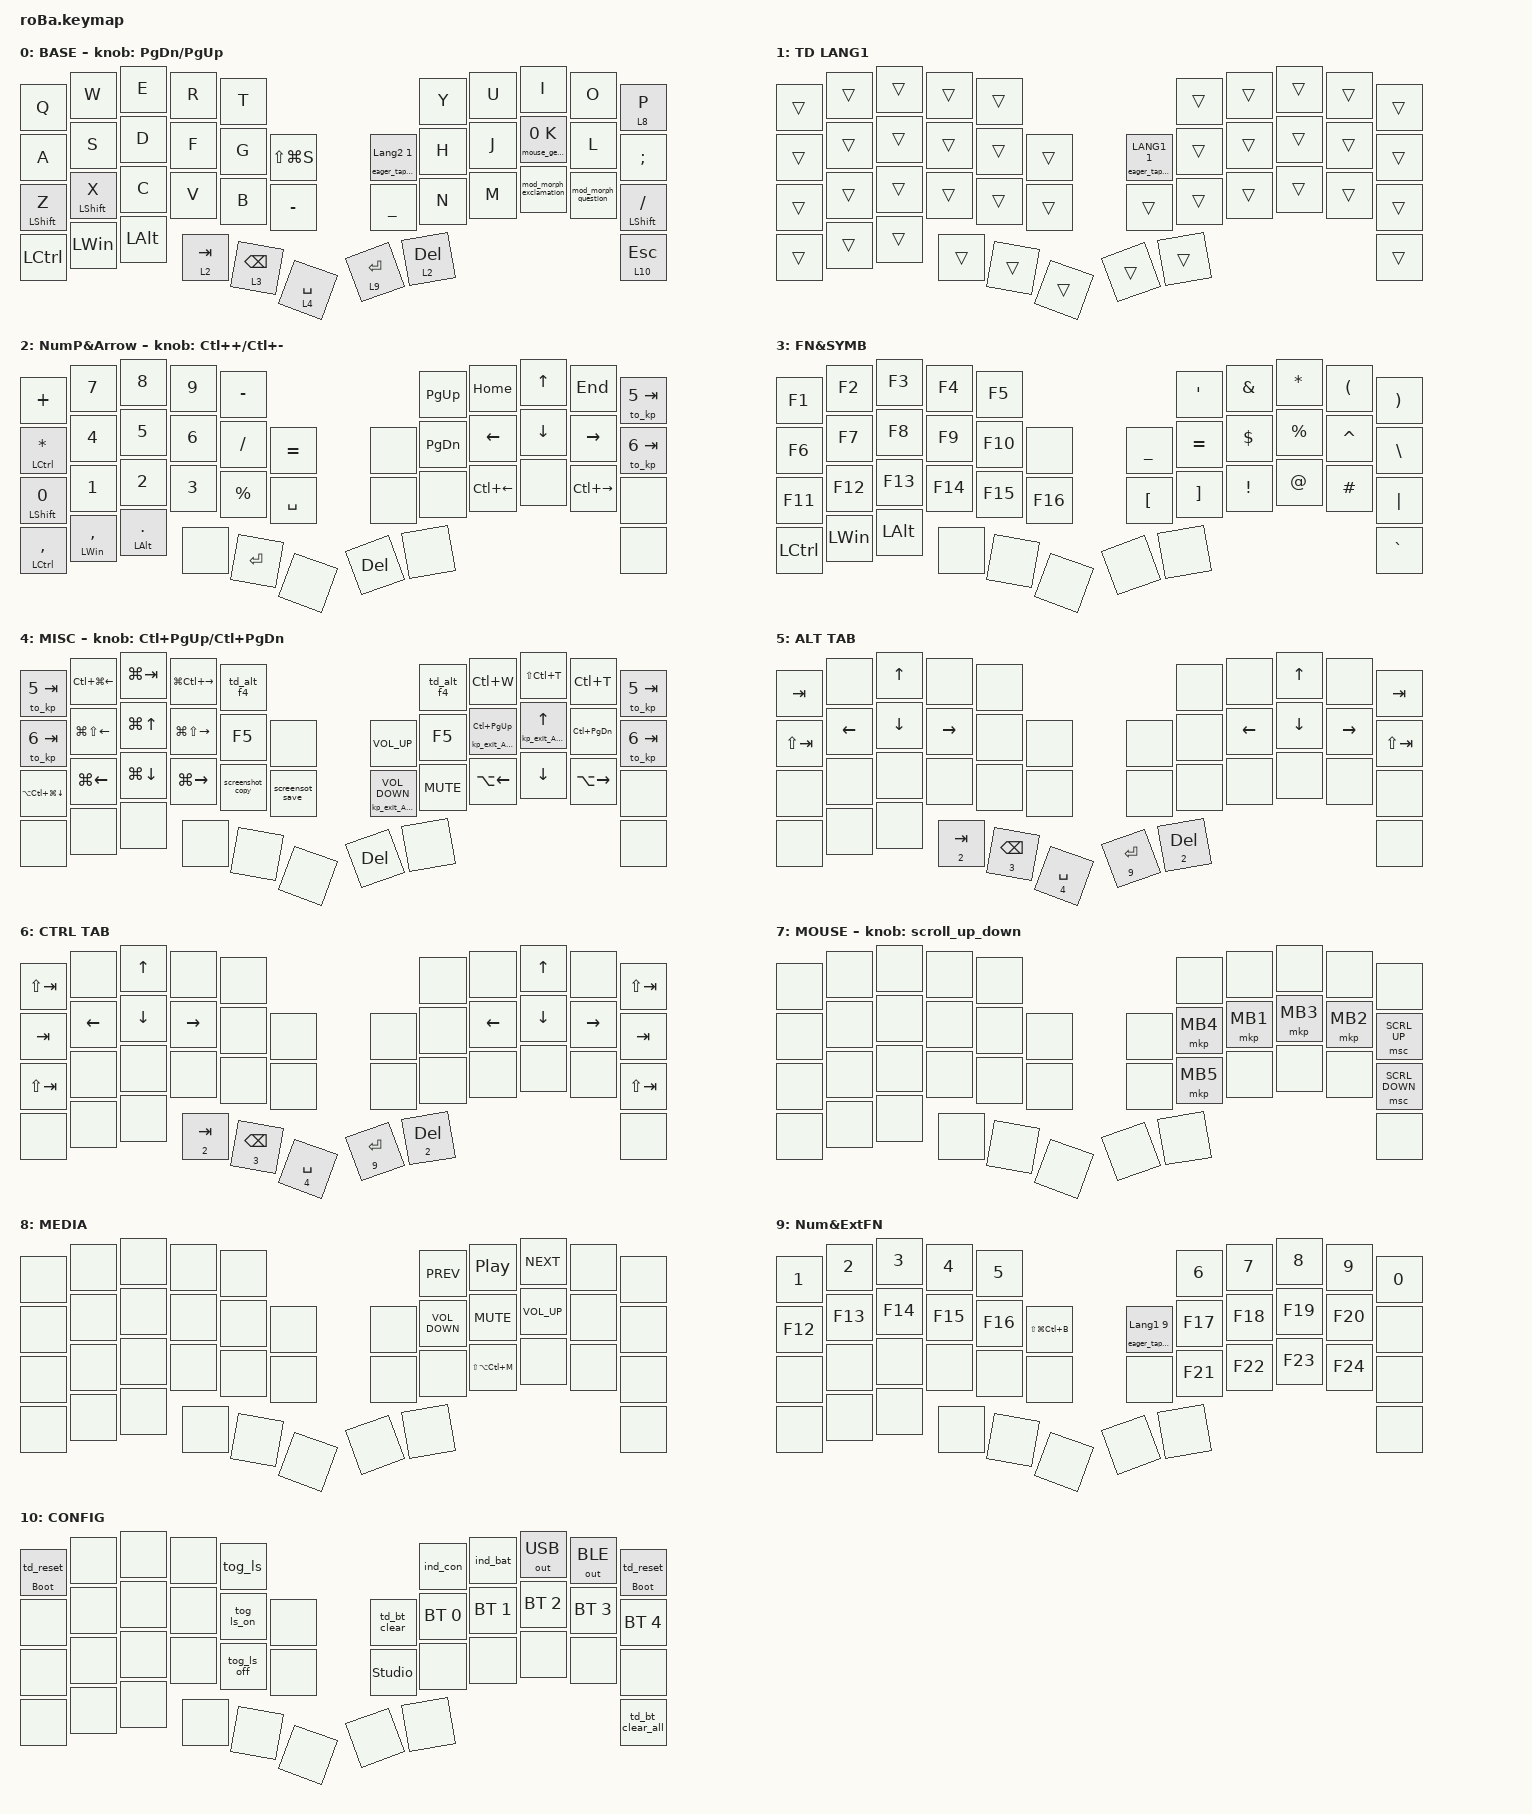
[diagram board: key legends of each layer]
#define ZMK_POINTING_DEFAULT_SCRL_VAL 1000

// #define ZMK_POINTING_DEFAULT_MOVE_VAL 700

#include <input/processors.dtsi>
#include <dt-bindings/zmk/input_transform.h>
#include <zephyr/dt-bindings/input/input-event-codes.h>
#include <behaviors/rgbled_widget.dtsi>

#include <behaviors.dtsi>
#include <dt-bindings/zmk/bt.h>
#include <dt-bindings/zmk/keys.h>
#include <dt-bindings/zmk/outputs.h>
#include <dt-bindings/zmk/pointing.h>

// #include <layout_shift.dtsi>
#include <layout_shift_kp_override.dtsi>

#include <mouse-gesture.dtsi>

#include <scroll-snap.dtsi>

#define DEFAULT 0
#define LANG1_EAGER_TAP_DANCE 1
#define NUMPAD_AND_ARROWS 2
#define FUNCTIONS_AND_SYMBOLS 3
#define MISC 4
#define ALT_TAB 5
#define CTRL_TAB 6
#define MOUSE 7
#define MEDIA 8
#define EXTRA_FINCTIONS 9
#define CONFIGURATION 10

&mt {
    tapping-term-ms = <200>;
    quick-tap-ms = <250>;
    flavor = "balanced";
};

&lt {
    tapping-term-ms = <200>;
    quick-tap-ms = <250>;
    flavor = "balanced";
};

&to { /delete-property/ locking; };

&tog { /delete-property/ locking; };

&sk { release-after-ms = <700>; };

&sl { release-after-ms = <1000>; };

&mouse_gesture_kp {
    tapping-term-ms = <200>;
    quick-tap-ms = <250>;
    flavor = "balanced";
};

&mouse_gesture_mkp {
    tapping-term-ms = <200>;
    quick-tap-ms = <250>;
    flavor = "balanced";
};


&zip_temp_layer {
    require-prior-idle-ms = <200>;
    excluded-positions = <
        17 // H - MB4
        18 // J - MB1
        19 // K - MB3
        20 // L - MB2
        21 // ; - Scroll
        29 // N - MB5
        33 // / - Scroll
        // 22 // Z
        // 31 // .
        // 32 // ,
        // 33 // /
        // 34 // Ctrl
        // 42
    >;
};

&zip_mouse_gesture {
    stroke-size = <150>;
    enable-eager-mode;

    history_back {
        pattern = <GESTURE_RIGHT>;
        bindings = <&kp LA(LEFT)>;
    };

    history_forward {
        pattern = <GESTURE_LEFT>;
        bindings = <&kp LA(RIGHT)>;
    };

    close_tab {
        pattern = <GESTURE_DOWN GESTURE_RIGHT>;
        bindings = <&kp LC(W)>;
    };

    new_tab {
        pattern = <GESTURE_DOWN GESTURE_LEFT>;
        bindings = <&kp LC(T)>;
    };

    app_switcher {
        pattern = <GESTURE_DOWN GESTURE_UP>;
        bindings = <&kp LG(TAB)>;
    };

    virtual_desktop_prev {
        pattern = <GESTURE_LEFT GESTURE_DOWN>;
        bindings = <&kp LG(LC(LEFT))>;
    };

    virtual_desktop_next {
        pattern = <GESTURE_RIGHT GESTURE_DOWN>;
        bindings = <&kp LG(LC(RIGHT))>;
    };

    // left {
    //     gesture = <GESTURE_LEFT>;
    //     bindings = <&kp LEFT>;
    // };
    // right {
    //     gesture = <GESTURE_RIGHT>;
    //     bindings = <&kp RIGHT>;
    // };
    // up {
    //     gesture = <GESTURE_UP>;
    //     bindings = <&kp UP>;
    // };
    // down {
    //     gesture = <GESTURE_DOWN>;
    //     bindings = <&kp DOWN>;
    // };
};

&zip_scroll_snap {
    require-n-samples = <8>;
    immediate-snap-threshold = <750>;
    lock-duration-ms = <175>;
    lock-for-next-n-events = <8>;
    idle-reset-timeout-ms = <175>;
};

/ {
    input_processors {
        wheel_x_scaler: wheel_x_scaler {
            compatible = "zmk,input-processor-scaler";
            #input-processor-cells = <2>;
            type = <INPUT_EV_REL>;
            codes = <INPUT_REL_HWHEEL>;
            track-remainders;
        };
    };

    layer_listeners {
        compatible = "zmk,layer-listeners";

        release_alt {
            layers = <ALT_TAB>;
            bindings = <&kt_on LEFT_ALT &kt_off LEFT_ALT>;
        };

        release_ctrl {
            layers = <CTRL_TAB>;
            bindings = <&kt_on LCTRL &kt_off LCTRL>;
        };

        // AML_indicator {
        //     layers = <MOUSE>;
        //     bindings = <&kp LS(LA(LC(LG(H)))) &kp LS(LA(LC(LG(H))))>;
        // };
        // AML {
        //     layers = <MOUSE>;
        //     bindings = <&to MOUSE &none>;
        // };
    };

    macros {
        /omit-if-no-ref/

        exit_AML: exit_AML {
            compatible = "zmk,behavior-macro";
            wait-ms = <0>;
            tap-ms = <0>;
            #binding-cells = <0>;
            bindings = <&tog_off 7>;
        };

        /omit-if-no-ref/

        kp_exit_AML: kp_exit_AML {
            compatible = "zmk,behavior-macro-one-param";
            wait-ms = <0>;
            tap-ms = <0>;
            #binding-cells = <1>;
            bindings = <&macro_param_1to1 &kp MACRO_PLACEHOLDER &exit_AML>;
        };

        /omit-if-no-ref/

        mod_exit_AML: mod_exit_AML {
            compatible = "zmk,behavior-macro-one-param";
            wait-ms = <0>;
            tap-ms = <0>;
            #binding-cells = <1>;
            bindings =
                <&macro_press>,
                <&macro_param_1to1 &kp MACRO_PLACEHOLDER>,
                <&macro_tap>,
                <&exit_AML>,
                <&macro_pause_for_release>,
                <&macro_release>,
                <&macro_param_1to1 &kp MACRO_PLACEHOLDER>;
        };

        /omit-if-no-ref/

        mkp_exit_AML: mkp_exit_AML {
            compatible = "zmk,behavior-macro-one-param";
            #binding-cells = <1>;
            bindings =
                <&macro_press>,
                <&macro_param_1to1 &mkp MACRO_PLACEHOLDER>,
                <&macro_pause_for_release>,
                <&macro_release>,
                <&macro_param_1to1 &mkp MACRO_PLACEHOLDER>,
                <&macro_tap>,
                <&sl 7>;
        };

        /omit-if-no-ref/

        mo_exit_AML: mo_exit_AML {
            compatible = "zmk,behavior-macro-one-param";
            wait-ms = <0>;
            tap-ms = <0>;
            #binding-cells = <1>;
            bindings =
                <&macro_press>,
                <&macro_param_1to1 &mo MACRO_PLACEHOLDER>,
                <&macro_tap>,
                <&exit_AML>,
                <&macro_pause_for_release>,
                <&macro_release>,
                <&macro_param_1to1 &mo MACRO_PLACEHOLDER>,
                <&macro_tap>;
        };

        /omit-if-no-ref/

        mo_exit_alttab: mo_exit_alttab_ctrltab {
            compatible = "zmk,behavior-macro-one-param";
            wait-ms = <0>;
            tap-ms = <0>;
            #binding-cells = <1>;
            bindings =
                <&macro_press>,
                <&macro_param_1to1 &mo MACRO_PLACEHOLDER>,
                <&macro_tap>,
                <&macro_pause_for_release>,
                <&macro_release>,
                <&macro_param_1to1 &mo MACRO_PLACEHOLDER>,
                <&macro_tap>,
                <&tog_off 5 &tog_off 6>;
        };

        /omit-if-no-ref/

        kp_to: kp_to {
            compatible = "zmk,behavior-macro-two-param";
            wait-ms = <0>;
            tap-ms = <0>;
            #binding-cells = <2>;
            bindings = <&macro_param_1to1 &kp MACRO_PLACEHOLDER &macro_param_2to1 &to MACRO_PLACEHOLDER>;
        };

        /omit-if-no-ref/

        to_kp: to_kp {
            compatible = "zmk,behavior-macro-two-param";
            #binding-cells = <2>;
            bindings = <&macro_param_1to1 &to MACRO_PLACEHOLDER &macro_param_2to1 &kp MACRO_PLACEHOLDER>;
        };

        /omit-if-no-ref/

        zoom_in: zoom_in {
            compatible = "zmk,behavior-macro";
            #binding-cells = <0>;
            bindings = <&kt_on LCTRL &msc SCRL_UP &kt_off LCTRL>;
        };

        /omit-if-no-ref/

        zoom_out: zoom_out {
            compatible = "zmk,behavior-macro";
            #binding-cells = <0>;
            bindings = <&kt_on LCTRL &msc SCRL_DOWN &kt_off LCTRL>;
        };

        /omit-if-no-ref/

        eager_tap_dance: eager_tap_dance {
            compatible = "zmk,behavior-macro-two-param";
            #binding-cells = <2>;
            bindings =
                <&macro_press>,
                <&macro_param_1to1 &kp MACRO_PLACEHOLDER>,
                <&macro_pause_for_release>,
                <&macro_release>,
                <&macro_param_1to1 &kp MACRO_PLACEHOLDER>,
                <&macro_tap>,
                <&exit_AML &macro_param_2to1 &sl_250 MACRO_PLACEHOLDER>;
        };
    };

    behaviors {
        /omit-if-no-ref/

        tog_on: toggle_layer_on {
            compatible = "zmk,behavior-toggle-layer";
            #binding-cells = <1>;
            display-name = "Toggle Layer On";
            toggle-mode = "on";
        };

        /omit-if-no-ref/

        tog_off: toggle_layer_off {
            compatible = "zmk,behavior-toggle-layer";
            #binding-cells = <1>;
            display-name = "Toggle Layer Off";
            toggle-mode = "off";
        };

        /omit-if-no-ref/

        kt_on: key_toggle_on_only {
            compatible = "zmk,behavior-key-toggle";
            #binding-cells = <1>;
            display-name = "Key Toggle On";
            toggle-mode = "on";
        };

        /omit-if-no-ref/

        kt_off: key_toggle_off_only {
            compatible = "zmk,behavior-key-toggle";
            #binding-cells = <1>;
            display-name = "Key Toggle Off";
            toggle-mode = "off";
        };

        /omit-if-no-ref/

        td_colon: td_colon {
            compatible = "zmk,behavior-tap-dance";
            #binding-cells = <0>;
            bindings = <&kp COLON>, <&kp SEMICOLON>;

            tapping-term-ms = <250>;
        };

        /omit-if-no-ref/

        td_q_escape: td_q_escape {
            compatible = "zmk,behavior-tap-dance";
            #binding-cells = <0>;
            tapping-term-ms = <250>;
            bindings = <&kp Q>, <&kp ESCAPE>;
        };

        /omit-if-no-ref/

        td_ZenkakuHankaku: td_ZenkakuHankaku {
            compatible = "zmk,behavior-tap-dance";

            // compatible = "zmk,behavior-eager-tap-dance";

            #binding-cells = <0>;
            tapping-term-ms = <250>;
            bindings = <&kp LANGUAGE_2>, <&kp LANGUAGE_1>;
        };

        /omit-if-no-ref/

        td_ZenkakuHankaku_exit_AML: td_ZenkakuHankaku_exit_AML {
            wait-ms = <0>;
            tap-ms = <0>;
            compatible = "zmk,behavior-macro";
            #binding-cells = <0>;
            bindings = <&td_ZenkakuHankaku &exit_AML>;
        };

        /omit-if-no-ref/

        alt_tab: alt_tab {
            compatible = "zmk,behavior-macro-two-param";
            #binding-cells = <2>;
            bindings = <&macro_param_1to1 &kt_on MACRO_PLACEHOLDER &macro_param_2to1 &kp MACRO_PLACEHOLDER &macro_param_1to1 &sk MACRO_PLACEHOLDER &macro_param_1to1 &kt_off MACRO_PLACEHOLDER>;
        };

        /omit-if-no-ref/

        windows_sleep: windows_sleep {
            compatible = "zmk,behavior-macro";
            wait-ms = <200>;
            tap-ms = <100>;
            #binding-cells = <0>;
            bindings = <&kp LG(X) &kp U &kp S>;
        };

        /omit-if-no-ref/

        screensot_save: screensot_save {
            compatible = "zmk,behavior-macro";
            #binding-cells = <0>;
            bindings = <&kp LS(F11)>;
            label = "SCREENSOT_SAVE";
        };

        mkp_with_mod: mkp_with_mod {
            compatible = "zmk,behavior-macro-two-param";
            #binding-cells = <2>;
            bindings =
                <&macro_press>,
                <&macro_param_1to1 &kp MACRO_PLACEHOLDER &macro_param_2to1 &mkp MACRO_PLACEHOLDER>,
                <&macro_pause_for_release>,
                <&macro_release>,
                <&macro_param_2to1 &mkp MACRO_PLACEHOLDER &macro_param_1to1 &kp MACRO_PLACEHOLDER>;

            label = "MKP_WITH_MOD";
        };

        /omit-if-no-ref/

        screenshot_copy: screenshot_copy {
            compatible = "zmk,behavior-mod-morph";
            bindings = <&kp LA(PRINTSCREEN)>, <&kp LA(PRINTSCREEN)>;

            #binding-cells = <0>;
            mods = <(MOD_LSFT|MOD_LALT)>;
            keep-mods = <(MOD_LALT)>;
        };

        /omit-if-no-ref/

        mod_morph_exclamation: mod_morph_exclamation {
            compatible = "zmk,behavior-mod-morph";
            bindings = <&kp COMMA>, <&kp EXCL>;

            #binding-cells = <0>;
            mods = <(MOD_LSFT)>;
        };

        /omit-if-no-ref/

        mod_morph_question: mod_morph_question {
            compatible = "zmk,behavior-mod-morph";
            bindings = <&kp PERIOD>, <&kp QUESTION>;

            #binding-cells = <0>;
            mods = <(MOD_LSFT)>;
        };

        /omit-if-no-ref/

        mod_morph_slash: mod_morph_slash {
            compatible = "zmk,behavior-mod-morph";
            bindings = <&kp SLASH>, <&kp BACKSLASH>;

            #binding-cells = <0>;
            mods = <(MOD_LSFT)>;
        };

        /omit-if-no-ref/

        td_alt_f4: td_alt_f4 {
            compatible = "zmk,behavior-tap-dance";
            #binding-cells = <0>;
            bindings = <&kp F4>, <&kp LA(F4)>;

            tapping-term-ms = <250>;
        };

        /omit-if-no-ref/

        lt_exit_AML: lt_exit_AML {
            compatible = "zmk,behavior-hold-tap";
            bindings = <&mo_exit_AML>, <&kp_exit_AML>;

            #binding-cells = <2>;
            tapping-term-ms = <200>;
            quick-tap-ms = <200>;
            flavor = "balanced";
        };

        /omit-if-no-ref/

        lt_exit_AML_on_hold: lt_exit_AML_on_hold {
            compatible = "zmk,behavior-hold-tap";
            bindings = <&mo_exit_AML>, <&kp>;

            #binding-cells = <2>;
            tapping-term-ms = <200>;
            quick-tap-ms = <200>;
            flavor = "balanced";
        };

        /omit-if-no-ref/

        lt_exit_alttab: lt_exit_alttab_ctrltab_on_hold_release {
            compatible = "zmk,behavior-hold-tap";
            bindings = <&mo_exit_alttab>, <&kp>;

            #binding-cells = <2>;
            tapping-term-ms = <200>;
            quick-tap-ms = <200>;
            flavor = "balanced";
        };

        /omit-if-no-ref/

        mt_exit_AML: mt_exit_AML {
            compatible = "zmk,behavior-hold-tap";
            bindings = <&mod_exit_AML>, <&kp_exit_AML>;

            #binding-cells = <2>;
            tapping-term-ms = <200>;
            flavor = "balanced";
            quick-tap-ms = <200>;
        };

        /omit-if-no-ref/

        mt_exit_AML_on_tap: mt_exit_AML_on_tap {
            compatible = "zmk,behavior-hold-tap";
            bindings = <&kp>, <&kp_exit_AML>;

            #binding-cells = <2>;
            tapping-term-ms = <200>;
            flavor = "balanced";
            quick-tap-ms = <200>;
        };

        /omit-if-no-ref/

        encoder_zoom: encoder_zoom {
            compatible = "zmk,behavior-sensor-rotate";
            #sensor-binding-cells = <0>;
            bindings = <&zoom_out>, <&zoom_in>;
        };

        /omit-if-no-ref/

        encoder_volume: encoder_volume {
            compatible = "zmk,behavior-sensor-rotate";
            #sensor-binding-cells = <0>;
            bindings = <&kp C_VOLUME_DOWN>, <&kp C_VOLUME_UP>;
        };

        // /omit-if-no-ref/

        lt_zoom_out: lt_zoom_out {
            compatible = "zmk,behavior-hold-tap";
            bindings = <&mo_exit_AML>, <&zoom_out>;

            #binding-cells = <2>;
            tapping-term-ms = <200>;
            quick-tap-ms = <200>;
            flavor = "balanced";
        };

        /omit-if-no-ref/

        sl_250: sl_250 {
            compatible = "zmk,behavior-sticky-key";
            bindings = <&mo>;
            #binding-cells = <1>;
            release-after-ms = <250>;
        };

        /omit-if-no-ref/

        td_bt_clear: td_bt_clear {
            compatible = "zmk,behavior-tap-dance";
            #binding-cells = <0>;
            bindings = <&none>, <&none>, <&bt BT_CLR>;

            tapping-term-ms = <250>;
        };

        /omit-if-no-ref/

        td_bt_clear_all: td_bt_clear_all {
            compatible = "zmk,behavior-tap-dance";
            #binding-cells = <0>;
            tapping-term-ms = <250>;
            bindings = <&none>, <&none>, <&bt BT_CLR_ALL>;
        };

        /omit-if-no-ref/

        td_copy_paste: td_copy_paste {
            compatible = "zmk,behavior-tap-dance";
            #binding-cells = <0>;
            bindings = <&kp_exit_AML LC(C)>, <&kp_exit_AML LC(V)>;

            tapping-term-ms = <250>;
        };

        /omit-if-no-ref/

        td_reset: td_reset {
            compatible = "zmk,behavior-tap-dance";
            #binding-cells = <0>;
            bindings = <&none>, <&sys_reset>;

            tapping-term-ms = <300>;
        };

        /omit-if-no-ref/

        reset_bootloader: reset_bootloader {
            compatible = "zmk,behavior-hold-tap";
            #binding-cells = <2>;
            bindings = <&bootloader>, <&td_reset>;

            tapping-term-ms = <500>;
            flavor = "balanced";
        };

        /omit-if-no-ref/

        td_rclick_close_tab: td_rclick_close_tab {
            compatible = "zmk,behavior-tap-dance";
            #binding-cells = <0>;
            bindings = <&mkp RCLK>, <&kp LC(W)>;

            tapping-term-ms = <250>;
        };

        /omit-if-no-ref/

        td_rclick_close_tab_mouse_gesture: td_rclick_close_tab_mouse_gesture {
            compatible = "zmk,behavior-hold-tap";
            #binding-cells = <2>;
            bindings = <&mouse_gesture>, <&td_rclick_close_tab>;

            tapping-term-ms = <150>;
            flavor = "balanced";
        };

        // スクロール動作の追加
        scroll_up_down: behavior_sensor_rotate_mouse_wheel_up_down {
            compatible = "zmk,behavior-sensor-rotate";
            #sensor-binding-cells = <0>;
            bindings = <&msc SCRL_DOWN>, <&msc SCRL_UP>;

            tap-ms = <20>;
        };
    };

    keymap {
        compatible = "zmk,keymap";

        DEFAULT {
            display-name = "BASE";
            bindings = <
&kp Q                             &kp W             &kp E         &kp R      &kp T                                                                   &kp Y         &kp U   &kp I                   &kp O                &lt 8 P
&kp A                             &kp S             &kp D         &kp F      &kp G            &kp LS(LG(S))        &eager_tap_dance LANGUAGE_2 1     &kp H         &kp J   &mouse_gesture_kp 0 K   &kp L                &kp SEMICOLON
&mt_exit_AML_on_tap LEFT_SHIFT Z  &mt LEFT_SHIFT X  &kp C         &kp V      &kp B            &kp MINUS            &kp UNDER                         &kp N         &kp M   &mod_morph_exclamation  &mod_morph_question  &mt LEFT_SHIFT SLASH
&kp LCTRL                         &kp LEFT_WIN      &kp LEFT_ALT  &lt 2 TAB  &lt 3 BACKSPACE  &lt 4 SPACE          &lt 9 ENTER                       &lt 2 DELETE                                                       &lt 10 ESCAPE
            >;
            sensor-bindings = <&inc_dec_kp PG_DN PG_UP>;
        };

//Layer1
        LANG1_EAGER_TAP_DANCE { 
            display-name = "TD LANG1";
            bindings = <
&trans  &trans  &trans  &trans  &trans                                        &trans  &trans  &trans  &trans  &trans
&trans  &trans  &trans  &trans  &trans  &trans      &eager_tap_dance LANG1 1  &trans  &trans  &trans  &trans  &trans
&trans  &trans  &trans  &trans  &trans  &trans      &trans                    &trans  &trans  &trans  &trans  &trans
&trans  &trans  &trans  &trans  &trans  &trans      &trans                    &trans                          &trans
            >;
        };

//Layer2
        NUMPAD_AND_ARROWS {
            display-name = "NumP&Arrow";
            bindings = <
&kp PLUS                   &kp N7              &kp N8               &kp N9  &kp MINUS                               &kp PG_UP      &kp HOME        &kp UP      &kp END           &to_kp 5 TAB
&mt LEFT_CONTROL ASTERISK  &kp N4              &kp N5               &kp N6  &kp SLASH    &kp EQUAL      &none       &kp PAGE_DOWN  &kp LEFT        &kp DOWN    &kp RIGHT         &to_kp 6 TAB
&mt LEFT_SHIFT N0          &kp N1              &kp N2               &kp N3  &kp PERCENT  &kp SPACE      &none       &none          &kp LC(LEFT)    &none       &kp LC(RIGHT)     &none
&mt LCTRL COMMA            &mt LEFT_WIN COMMA  &mt LEFT_ALT PERIOD  &none   &kp ENTER    &none          &kp DELETE  &none                                                            &none 
            >;

            sensor-bindings = <&inc_dec_kp LC(PLUS) LC(MINUS)>;
        };

//Layer3
        FUNCTIONS_AND_SYMBOLS {
            display-name = "FN&SYMB";
            bindings = <
&kp F1      &kp F2        &kp F3     &kp F4     &kp F5                              &kp SQT    &kp AMPS  &kp ASTRK  &kp LPAR   &kp RPAR
&kp F6      &kp F7        &kp F8     &kp F9     &kp F10      &none       &kp UNDER  &kp EQUAL  &kp DLLR  &kp PRCNT  &kp CARET  &kp BSLH
&kp F11     &kp F12       &kp F13    &kp F14    &kp F15    &kp F16       &kp LBKT   &kp RBKT   &kp EXCL  &kp AT     &kp HASH   &kp PIPE
&kp LCTRL   &kp LEFT_WIN  &kp LEFT_ALT  &none    &none       &none       &none      &none                                      &kp GRAVE
            >;
        };

//Layer4
        MISC {
            display-name = "MISC";
            bindings = <
&to_kp 5 TAB          &kp LC(LG(LEFT))        &kp LG(TAB)       &kp LG(LC(RIGHT))        &td_alt_f4                                                         &td_alt_f4  &kp LC(W)                 &kp LS(LC(T))          &kp LC(T)          &to_kp 5 TAB
&to_kp 6 TAB          &kp LG(LS(LEFT_ARROW))  &kp LG(UP_ARROW)  &kp LG(LS(RIGHT_ARROW))  &kp F5            &none                &kp C_VOLUME_UP             &kp F5      &kp_exit_AML LC(PAGE_UP)  &kp_exit_AML UP_ARROW  &kp LC(PAGE_DOWN)  &to_kp 6 TAB
&kp LA(LC(LG(DOWN)))  &kp LG(LEFT_ARROW)      &kp LG(DOWN)      &kp LG(RIGHT_ARROW)      &screenshot_copy  &screensot_save      &kp_exit_AML C_VOLUME_DOWN  &kp K_MUTE  &kp LA(LEFT)              &kp DOWN               &kp LA(RIGHT)      &none 
&none                 &none                   &none             &none                    &none             &none                &kp DELETE                  &none                                                                           &none 
            >;

            sensor-bindings = <&inc_dec_kp LC(PAGE_UP) LC(PAGE_DOWN)>;
        };

//Layer5
        ALT_TAB {
            display-name = "ALT TAB";
            bindings = <
&kp TAB      &none     &kp UP    &none                  &none                                                                            &none                     &none     &kp UP     &none      &kp TAB
&kp LS(TAB)  &kp LEFT  &kp DOWN  &kp RIGHT              &none                        &none                      &none                    &none                     &kp LEFT  &kp DOWN   &kp RIGHT  &kp LS(TAB)
&none        &none     &none     &none                  &none                        &none                      &none                    &none                     &none     &none      &none      &none 
&none        &none     &none     &lt_exit_alttab 2 TAB  &lt_exit_alttab 3 BACKSPACE  &lt_exit_alttab 4 SPACE    &lt_exit_alttab 9 ENTER  &lt_exit_alttab 2 DELETE                                  &none 
            >;
        };

//Layer6
        CTRL_TAB {
            display-name = "CTRL TAB";
            bindings = <
&kp LS(TAB)  &none     &kp UP    &none                  &none                                                                            &none                     &none     &kp UP    &none      &kp LS(TAB)
&kp TAB      &kp LEFT  &kp DOWN  &kp RIGHT              &none                        &none                      &none                    &none                     &kp LEFT  &kp DOWN  &kp RIGHT  &kp TAB
&kp LS(TAB)  &none     &none     &none                  &none                        &none                      &none                    &none                     &none     &none     &none      &kp LS(TAB)
&none        &none     &none     &lt_exit_alttab 2 TAB  &lt_exit_alttab 3 BACKSPACE  &lt_exit_alttab 4 SPACE    &lt_exit_alttab 9 ENTER  &lt_exit_alttab 2 DELETE                                 &none 
            >;
        };

//Layer7
        MOUSE {
            display-name = "MOUSE";
            bindings = <
&none  &none  &none  &none  &none                    &none     &none     &none     &none     &none
&none  &none  &none  &none  &none  &none      &none  &mkp MB4  &mkp MB1  &mkp MB3  &mkp MB2  &msc SCRL_UP
&none  &none  &none  &none  &none  &none      &none  &mkp MB5  &none     &none     &none     &msc SCRL_DOWN
&none  &none  &none  &none  &none  &none      &none  &none                                   &none
            >;

            sensor-bindings = <&scroll_up_down>;
        };

//Layer8
        MEDIA {
            display-name = "MEDIA";
            bindings = <
&none   &none   &none   &none   &none                       &kp C_PREV         &kp C_PLAY_PAUSE   &kp C_NEXT       &none   &none 
&none   &none   &none   &none   &none   &none       &none   &kp C_VOLUME_DOWN  &kp C_MUTE         &kp C_VOLUME_UP  &none   &none 
&none   &none   &none   &none   &none   &none       &none   &none              &kp LS(LA(LC(M)))  &none            &none   &none 
&none   &none   &none   &none   &none   &none       &none   &none                                                          &none 
            >;
        };

//Layer9
        EXTRA_FINCTIONS {
            display-name = "Num&ExtFN";
            bindings = <
&kp N1   &kp N2   &kp N3   &kp N4   &kp N5                                &kp N6                    &kp N7   &kp N8   &kp N9   &kp N0
&kp F12  &kp F13  &kp F14  &kp F15  &kp F16  &kp LS(LG(LC(B)))       &eager_tap_dance LANGUAGE_1 9  &kp F17  &kp F18  &kp F19  &kp F20  &none 
&none    &none    &none    &none    &none    &none                        &none                     &kp F21  &kp F22  &kp F23  &kp F24  &none 
&none    &none    &none    &none    &none    &none                        &none                     &none                               &none 
            >;
        };

//Layer10
        CONFIGURATION {
            display-name = "CONFIG";
            bindings = <
&reset_bootloader 0 0 &none       &none  &none  &tog_ls                                  &ind_con      &ind_bat      &out OUT_USB  &out OUT_BLE    &reset_bootloader 0 0
&none                 &none       &none  &none  &tog_ls_on   &none       &td_bt_clear    &bt BT_SEL 0  &bt BT_SEL 1  &bt BT_SEL 2  &bt BT_SEL 3    &bt BT_SEL 4
&none                 &none       &none  &none  &tog_ls_off  &none       &studio_unlock  &none         &none         &none         &none           &none
&none                 &none       &none  &none  &none        &none       &none           &none                                                     &td_bt_clear_all
            >;
        };
    };
};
